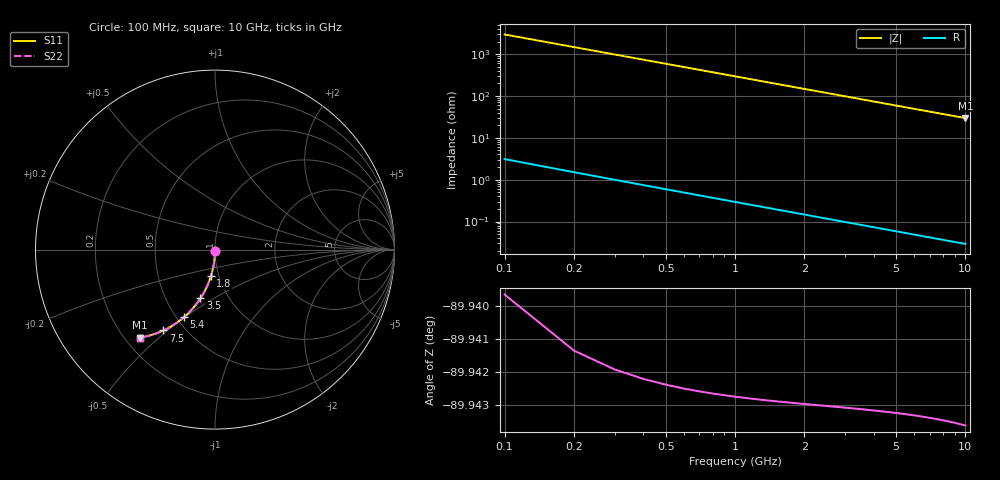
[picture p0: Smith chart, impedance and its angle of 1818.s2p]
# Hz S RI R 50.00
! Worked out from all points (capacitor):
!   100 points, 100 MHz to 10 GHz, reference 50 ohm
!   read as one part in shunt: C = 540 fF near 100 MHz
!   lowest |Z| = 29.7 ohm at 10 GHz (marker M1)
!   S11 on the Smith chart (normalised r, x): 100 MHz: 1.00, -0.02; 1.8 GHz: 0.91, -0.28; 3.5 GHz: 0.74, -0.44; 5.4 GHz: 0.55, -0.50; 7.5 GHz: 0.38, -0.48; 10 GHz: 0.26, -0.44
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1e8  -6.55e-05 -0.00846  0.9999 -0.0085  0.9999 -0.0085  -6.55e-05 -0.00846
2e8  -0.000289 -0.0169  0.9997 -0.017  0.9997 -0.017  -0.000289 -0.0169
3e8  -0.000657 -0.0254  0.9993 -0.0255  0.9993 -0.0255  -0.000657 -0.0254
4e8  -0.00117 -0.0338  0.9988 -0.034  0.9988 -0.034  -0.00117 -0.0338
5e8  -0.00182 -0.0422  0.9981 -0.0424  0.9981 -0.0424  -0.00182 -0.0422
6e8  -0.00262 -0.0506  0.9974 -0.0509  0.9974 -0.0509  -0.00262 -0.0506
8e8  -0.00463 -0.0673  0.9953 -0.0677  0.9953 -0.0677  -0.00463 -0.0673
1.1e9  -0.0087 -0.0922  0.9913 -0.0927  0.9913 -0.0927  -0.0087 -0.0922
1.4e9  -0.014 -0.1167  0.986 -0.1173  0.986 -0.1173  -0.014 -0.1167
1.8e9  -0.0229 -0.1487  0.9771 -0.1494  0.9771 -0.1494  -0.0229 -0.1487
2.1e9  -0.0308 -0.172  0.9691 -0.1729  0.9691 -0.1729  -0.0308 -0.172
2.5e9  -0.0431 -0.2021  0.9568 -0.2032  0.9568 -0.2032  -0.0431 -0.2021
2.9e9  -0.0571 -0.231  0.9428 -0.2322  0.9428 -0.2322  -0.0571 -0.231
3.4e9  -0.0768 -0.2651  0.9232 -0.2665  0.9232 -0.2665  -0.0768 -0.2651
3.5e9  -0.081 -0.2716  0.919 -0.2731  0.919 -0.2731  -0.081 -0.2716
4.3e9  -0.1173 -0.3204  0.8827 -0.3222  0.8827 -0.3222  -0.1173 -0.3204
5.1e9  -0.1573 -0.3625  0.8426 -0.3647  0.8426 -0.3647  -0.1573 -0.3625
5.4e9  -0.173 -0.3766  0.8269 -0.379  0.8269 -0.379  -0.173 -0.3766
6.7e9  -0.2433 -0.4271  0.7566 -0.4301  0.7566 -0.4301  -0.2433 -0.4271
7.5e9  -0.287 -0.4502  0.713 -0.4535  0.713 -0.4535  -0.287 -0.4502
8.4e9  -0.3353 -0.4698  0.6647 -0.4734  0.6647 -0.4734  -0.3353 -0.4698
1e10  -0.4164 -0.4903  0.5835 -0.4947  0.5835 -0.4947  -0.4164 -0.4903
